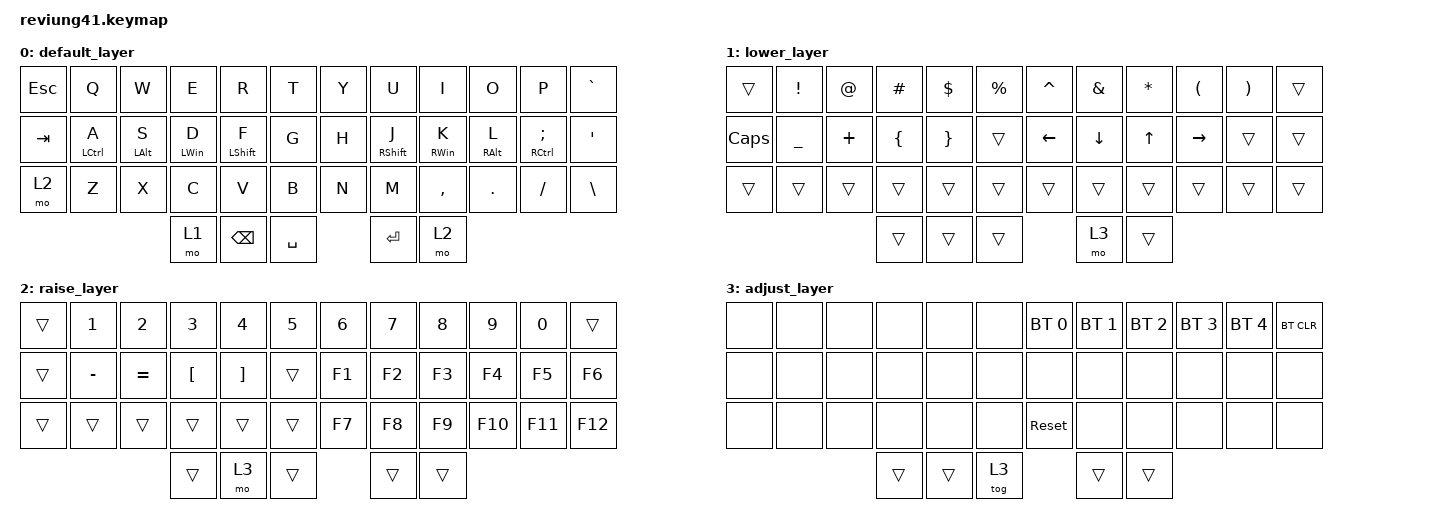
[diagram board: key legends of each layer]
/*
 * Copyright (c) 2020 The ZMK Contributors
 *
 * SPDX-License-Identifier: MIT
 */

#include <behaviors.dtsi>
#include <dt-bindings/zmk/bt.h>
#include <dt-bindings/zmk/keys.h>

/ {
    keymap {
        compatible = "zmk,keymap";

        default_layer {
            // -------------------------------------------------------------------------------------
            // |  TAB |  Q  |  W  |  E  |  R  |  T  |   |  Y  |  U   |  I  |  O  |  P  |   BSPC    |
            // | CTRL |  A  |  S  |  D  |  F  |  G  |   |  H  |  J   |  K  |  L  |  ;  |    '      |
            // | SHFT |  Z  |  X  |  C  |  V  |  B  |   |  N  |  M   |  ,  |  .  |  /  | SHFT(RET) |
            //                         | ALT | LWR | SPC | RSE  | ALT |

            bindings = <
&kp ESCAPE  &kp Q               &kp W           &kp E           &kp R             &kp T             &kp Y  &kp U              &kp I            &kp O            &kp P                   &kp GRAVE
&kp TAB     &mt LEFT_CONTROL A  &mt LEFT_ALT S  &mt LEFT_WIN D  &mt LEFT_SHIFT F  &kp G             &kp H  &mt RIGHT_SHIFT J  &mt RIGHT_WIN K  &mt RIGHT_ALT L  &mt RIGHT_CONTROL SEMI  &kp SQT
&mo 2       &kp Z               &kp X           &kp C           &kp V             &kp B             &kp N  &kp M              &kp COMMA        &kp DOT          &kp FSLH                &kp BACKSLASH
                                                &mo 1           &kp BACKSPACE            &kp SPACE         &kp ENTER          &mo 2
            >;
        };

        lower_layer {
            // ------------------------------------------------------------------------------------
            // |    |  !  |  @  |  #  |  $  |  %  |   |  ^  |  &  |  *  |  (  |  )  |      DEL    |
            // |    |  _  |  +  |  {  |  }  | "|" |   | LFT | DWN |  UP | RGT |  `  |       ~     |
            // |    | ESC | GUI | ALT | CAPS|  "  |   | HOME| END | PGUP| PGDN| PRSC| SHFT(SPACE) |
            //                       |     |     | RET | ADJ |     |

            bindings = <
&trans        &kp EXCL   &kp AT    &kp HASH        &kp DLLR         &kp PRCNT          &kp CARET  &kp AMPS  &kp ASTRK  &kp LPAR   &kp RPAR  &trans
&kp CAPSLOCK  &kp UNDER  &kp PLUS  &kp LEFT_BRACE  &kp RIGHT_BRACE  &trans             &kp LEFT   &kp DOWN  &kp UP     &kp RIGHT  &trans    &trans
&trans        &trans     &trans    &trans          &trans           &trans             &trans     &trans    &trans     &trans     &trans    &trans
                                   &trans          &trans                      &trans             &mo 3     &trans
            >;
        };

        raise_layer {
            // ----------------------------------------------------------------------------
            // |    |  1  |  2  |  3  |  4  |  5  |   |  6  |  7  |  8  |  9  |  0  | DEL |
            // |    |  -  |  =  |  [  |  ]  |  \  |   | F1  | F2  | F3  | F4  | F5  | F6  |
            // |    | ESC | GUI | ALT | CAPS|  "  |   | F7  | F8  | F9  | F10 | F11 | F12 |
            //                       |     | ADJ | BSPC |    |     |

            bindings = <
&trans  &kp N1     &kp N2     &kp N3    &kp N4    &kp N5          &kp N6  &kp N7  &kp N8  &kp N9   &kp N0   &trans
&trans  &kp MINUS  &kp EQUAL  &kp LBKT  &kp RBKT  &trans          &kp F1  &kp F2  &kp F3  &kp F4   &kp F5   &kp F6
&trans  &trans     &trans     &trans    &trans    &trans          &kp F7  &kp F8  &kp F9  &kp F10  &kp F11  &kp F12
                              &trans    &mo 3             &trans          &trans  &trans
            >;
        };

        adjust_layer {
            // -----------------------------------------------------------------------------------------
            // | RGB BRI+ | RGB SAT+ | RGB HUE+ | RGB ANI+ |    | RGB TOG |   |  BT1  | BT2 | BT3 | BT4 | BT5 | BT CLR |
            // | RGB BRI- | RGB SAT- | RGB HUE- | RGB ANI- |    |         |   |       |     |     |     |     |        |
            // |          |          |          |          |    |         |   | RESET |     |     |     |     |        |
            //                                              |     |     |     |     |     |

            bindings = <
&none  &none  &none  &none   &none   &none          &bt BT_SEL 0  &bt BT_SEL 1  &bt BT_SEL 2  &bt BT_SEL 3  &bt BT_SEL 4  &bt BT_CLR
&none  &none  &none  &none   &none   &none          &none         &none         &none         &none         &none         &none
&none  &none  &none  &none   &none   &none          &sys_reset    &none         &none         &none         &none         &none
                     &trans  &trans         &tog 3                &trans        &trans
            >;
        };
    };
};
